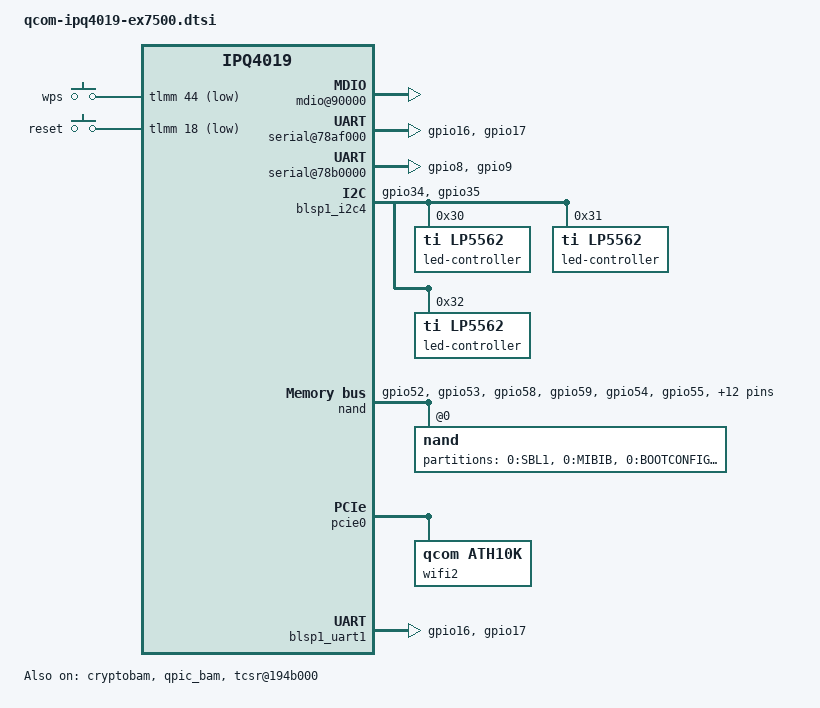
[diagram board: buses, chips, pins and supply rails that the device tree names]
// SPDX-License-Identifier: GPL-2.0-or-later OR MIT

#include "qcom-ipq4019.dtsi"
#include <dt-bindings/gpio/gpio.h>
#include <dt-bindings/input/input.h>
#include <dt-bindings/soc/qcom,tcsr.h>

/ {
	compatible = "netgear,ex7500";

	chosen {
		bootargs-append = " root=/dev/ubiblock0_1 rootfstype=squashfs rootwait";
	};

	aliases {
		led-boot = &power_led;
		led-failsafe = &network_led;
		led-running = &power_led;
		led-upgrade = &network_led;
	};

	soc {
		rng@22000 {
			status = "okay";
		};

		mdio@90000 {
			status = "okay";
		};

		ess-psgmii@98000 {
			status = "okay";
		};

		tcsr@1949000 {
			compatible = "qcom,tcsr";
			reg = <0x1949000 0x100>;
			qcom,wifi_glb_cfg = <TCSR_WIFI_GLB_CFG>;
		};

		tcsr@194b000 {
			compatible = "qcom,tcsr";
			reg = <0x194b000 0x100>;
			qcom,usb-hsphy-mode-select = <TCSR_USB_HSPHY_HOST_MODE>;
			status = "okay";
		};

		ess_tcsr@1953000 {
			compatible = "qcom,tcsr";
			reg = <0x1953000 0x1000>;
			qcom,ess-interface-select = <TCSR_ESS_PSGMII>;
		};

		tcsr@1957000 {
			compatible = "qcom,tcsr";
			reg = <0x1957000 0x100>;
			qcom,wifi_noc_memtype_m0_m2 = <TCSR_WIFI_NOC_MEMTYPE_M0_M2>;
		};

		crypto@8e3a000 {
			status = "okay";
		};

		watchdog@b017000 {
			status = "okay";
		};

		// ess-switch@c000000 {
		// 	status = "okay";

		// 	switch_lan_bmp = <0x10>;
		// 	switch_wan_bmp = <0x20>;
		// };

		// edma@c080000 {
		// 	status = "okay";
		// };

		serial@78af000 {
			pinctrl-0 = <&serial_0_pins>;
			pinctrl-names = "default";
			status = "ok";
		};

		serial@78b0000 {
			pinctrl-0 = <&serial_1_pins>;
			pinctrl-names = "default";
			status = "ok";
		};

		// nand1: qpic-nand@7980000 {
		// 	compatible = "qcom,ipq4019-nand";
		// 	reg = <0x7980000 0x4000>;
		// 	#address-cells = <1>;
		// 	#size-cells = <0>;
		// 	clocks = <&gcc GCC_QPIC_CLK>,
		// 		 <&gcc GCC_QPIC_AHB_CLK>;
		// 	clock-names = "core", "aon";

		// 	dmas = <&qpic_bam 0>,
		// 	       <&qpic_bam 1>,
		// 	       <&qpic_bam 2>;
		// 	dma-names = "tx", "rx", "cmd";
		// 	status = "disabled";

		// 	nand@0 {
		// 		reg = <0>;

		// 		nand-ecc-strength = <4>;
		// 		nand-ecc-step-size = <512>;
		// 		nand-bus-width = <8>;
		// 	};
		// };
	};

	key {
		compatible = "gpio-keys";

		wps {
			label = "wps";
			gpios = <&tlmm 44 GPIO_ACTIVE_LOW>;
			linux,code = <KEY_WPS_BUTTON>;
		};

		reset {
			label = "reset";
			gpios = <&tlmm 18 GPIO_ACTIVE_LOW>;
			linux,code = <KEY_RESTART>;
		};
	};

	// leds {
	// 	compatible = "gpio-leds";

	// 	// connect_red {
	// 	// 	label = "fritzwlan-3000:red:connect";
	// 	// 	gpios = <&tlmm 30 GPIO_ACTIVE_LOW>;
	// 	// };

	// 	// connect_green {
	// 	// 	label = "fritzwlan-3000:green:connect";
	// 	// 	gpios = <&tlmm 31 GPIO_ACTIVE_LOW>;
	// 	// };

	// 	// connect_blue {
	// 	// 	label = "fritzwlan-3000:blue:connect";
	// 	// 	gpios = <&tlmm 32 GPIO_ACTIVE_LOW>;
	// 	// };

	// 	// power_led: power {
	// 	// 	label = "fritzwlan-3000:green:power";
	// 	// 	gpios = <&tlmm 33 GPIO_ACTIVE_LOW>;
	// 	// };
	// };
};

&tlmm {
	i2c_1_pins: i2c_1_pinmux {
		pinmux {
			function = "blsp_i2c1";
			pins = "gpio34", "gpio35";
		};
		pinconf {
			pins = "gpio34", "gpio35";
			drive-strength = <16>;
			bias-disable;
		};
	};

	mdio_pins: mdio_pinmux {
		mux_1 {
			pins = "gpio6";
			function = "mdio0";
			bias-bus-hold;
		};
		mux_2 {
			pins = "gpio7";
			function = "mdc";
			bias-bus-hold;
		};
	};

	serial_0_pins: serial_pinmux {
		mux {
			pins = "gpio16", "gpio17";
			function = "blsp_uart0";
			bias-disable;
		};
	};

	serial_1_pins: serial1_pinmux {
		mux {
			pins = "gpio8", "gpio9";
			function = "blsp_uart1";
			bias-disable;
		};
	};

	nand_pins: nand_pins {
		pullups {
			pins = "gpio52", "gpio53", "gpio58", "gpio59";
			function = "qpic";
			bias-pull-up;
		};

		pulldowns {
			pins = "gpio54", "gpio55", "gpio56",
				"gpio57", "gpio60", "gpio61",
				"gpio62", "gpio63", "gpio64",
				"gpio65", "gpio66", "gpio67",
				"gpio68", "gpio69";
			function = "qpic";
			bias-pull-down;
		};
	};
};

&blsp1_i2c4 {
	pinctrl-0 = <&i2c_1_pins>;
	pinctrl-names = "default";
	status = "okay";

	led-controller@30 {
		compatible = "ti,lp5562";
		reg = <0x30>;
		clock-mode = /bits/8 <2>;

		/* RGB led */
		chan0 {
			chan-name = "ex7500:red:wifi2g";
			led-cur = /bits/ 8 <0x20>;
			max-cur = /bits/ 8 <0x60>;
		};

		chan1 {
			chan-name = "ex7500:green:wifi2g";
			led-cur = /bits/ 8 <0x20>;
			max-cur = /bits/ 8 <0x60>;
		};

		chan2 {
			chan-name = "ex7500:blue:wifi2g";
			led-cur = /bits/ 8 <0x20>;
			max-cur = /bits/ 8 <0x60>;
		};

		network_led: chan3 {
			chan-name = "ex7500:blue:network";
			led-cur = /bits/ 8 <0x20>;
			max-cur = /bits/ 8 <0x60>;
		};
	};

	led-controller@31 {
		compatible = "ti,lp5562";
		reg = <0x31>;
		clock-mode = /bits/8 <2>;

		/* RGB led */
		chan0 {
			chan-name = "ex7500:red:mesh";
			led-cur = /bits/ 8 <0x20>;
			max-cur = /bits/ 8 <0x60>;
		};

		chan1 {
			chan-name = "ex7500:green:mesh";
			led-cur = /bits/ 8 <0x20>;
			max-cur = /bits/ 8 <0x60>;
		};

		chan2 {
			chan-name = "ex7500:blue:mesh";
			led-cur = /bits/ 8 <0x20>;
			max-cur = /bits/ 8 <0x60>;
		};

		power_led: chan3 {
			chan-name = "ex7500:blue:power";
			led-cur = /bits/ 8 <0x20>;
			max-cur = /bits/ 8 <0x60>;
		};
	};

	led-controller@32 {
		compatible = "ti,lp5562";
		reg = <0x32>;
		clock-mode = /bits/8 <2>;

		/* RGB led */
		chan0 {
			chan-name = "ex7500:red:wifi5g";
			led-cur = /bits/ 8 <0x20>;
			max-cur = /bits/ 8 <0x60>;
		};

		chan1 {
			chan-name = "ex7500:green:wifi5g";
			led-cur = /bits/ 8 <0x20>;
			max-cur = /bits/ 8 <0x60>;
		};

		chan2 {
			chan-name = "ex7500:blue:wifi5g";
			led-cur = /bits/ 8 <0x20>;
			max-cur = /bits/ 8 <0x60>;
		};

		// chan3 {
		// 	chan-name = "ex7500:blue:power32";
		// 	led-cur = /bits/ 8 <0x20>;
		// 	max-cur = /bits/ 8 <0x60>;
		// };
	};
};

&nand {
	pinctrl-0 = <&nand_pins>;
	pinctrl-names = "default";
	status = "okay";

	nand@0 {
		partitions {
			compatible = "fixed-partitions";
			#address-cells = <1>;
			#size-cells = <1>;


			partition@0 {
				label = "0:SBL1";
				reg = <0x0 0x100000>;
				read-only;
			};

			partition@100000 {
				label = "0:MIBIB";
				reg = <0x100000 0x100000>;
				read-only;
			};

			partition@200000 {
				label = "0:BOOTCONFIG";
				reg = <0x200000 0x100000>;
				read-only;
			};

			partition@300000 {
				label = "0:QSEE";
				reg = <0x300000 0x100000>;
				read-only;
			};

			partition@400000 {
				label = "0:QSEE_ALT";
				reg = <0x400000 0x100000>;
				read-only;
			};

			partition@500000 {
				label = "0:CDT";
				reg = <0x500000 0x80000>;
				read-only;
			};

			partition@580000 {
				label = "0:CDT_ALT";
				reg = <0x580000 0x80000>;
				read-only;
			};

			partition@600000 {
				label = "0:DDRPARAMS";
				reg = <0x600000 0x80000>;
				read-only;
			};

			partition@680000 {
				label = "0:APPSBLENV";
				reg = <0x680000 0x80000>;
				read-only;
			};

			partition@700000 {
				label = "0:APPSBL";
				reg = <0x700000 0x200000>;
				read-only;
			};

			partition@900000 {
				label = "0:APPSBL_ALT";
				reg = <0x900000 0x200000>;
				read-only;
			};

			partition@b00000 {
				label = "0:ART";
				reg = <0xb00000 0x80000>;
				read-only;
			};

			partition@b80000 {
				label = "rootfs";
				reg = <0xb80000 0x2100000>;
			};

			partition@2c80000 {
				label = "rootfs_ALT";
				reg = <0x2c80000 0x2100000>;
			};

			partition@4d80000 {
				label = "nvram";
				reg = <0x4d80000 0x200000>;
				read-only;
			};

			partition@4f80000 {
				label = "board_data";
				reg = <0x4f80000 0x100000>;
				read-only;
			};

			partition@5080000 {
				label = "POT1";
				reg = <0x5080000 0x100000>;
				read-only;
			};

			partition@5180000 {
				label = "POT2";
				reg = <0x5180000 0x100000>;
				read-only;
			};

			partition@5280000 {
				label = "T_Meter1";
				reg = <0x5280000 0x200000>;
				read-only;
			};

			partition@5480000 {
				label = "T_Meter2";
				reg = <0x5480000 0x200000>;
				read-only;
			};

			partition@5680000 {
				label = "ML1";
				reg = <0x5680000 0x100000>;
				read-only;
			};

			partition@5780000 {
				label = "ML2";
				reg = <0x5780000 0x100000>;
				read-only;
			};

			partition@5880000 {
				label = "ML3";
				reg = <0x5880000 0x100000>;
				read-only;
			};

			partition@5980000 {
				label = "ML4";
				reg = <0x5980000 0x100000>;
				read-only;
			};

			partition@5a80000 {
				label = "ML5";
				reg = <0x5a80000 0x100000>;
				read-only;
			};

			partition@5b80000 {
				label = "ML6";
				reg = <0x5b80000 0x100000>;
				read-only;
			};

			partition@5c80000 {
				label = "ML7";
				reg = <0x5c80000 0x100000>;
				read-only;
			};

			partition@5d80000 {
				label = "DebugMsg";
				reg = <0x5d80000 0x100000>;
				read-only;
			};

			partition@5e80000 {
				label = "OpenVPN";
				reg = <0x5e80000 0x600000>;
				read-only;
			};

			partition@6480000 {
				label = "latest_rootfs";
				reg = <0x6480000 0x100000>;
				read-only;
			};

		};
	};
};

&pcie0 {
	status = "okay";

	perst-gpio = <&tlmm 38 GPIO_ACTIVE_LOW>;
	wake-gpio = <&tlmm 40 GPIO_ACTIVE_LOW>;

	bridge@0,0 {
		reg = <0x00000000 0 0 0 0>;
		#address-cells = <3>;
		#size-cells = <2>;
		ranges;

		wifi2: wifi@1,0 {
			/* QCA9988 */
			compatible = "qcom,ath10k";
			status = "okay";
			reg = <0x00010000 0 0 0 0>;
			// ieee80211-freq-limit = <5470000 5875000>;
			/* Uses the reference BDF */
		};
	};
};

&cryptobam {
	status = "okay";
};

&blsp_dma {
	status = "okay";
};

&blsp1_uart1 {
	pinctrl-0 = <&serial_0_pins>;
	pinctrl-names = "default";
	status = "okay";
};

&qpic_bam {
	status = "okay";
};
